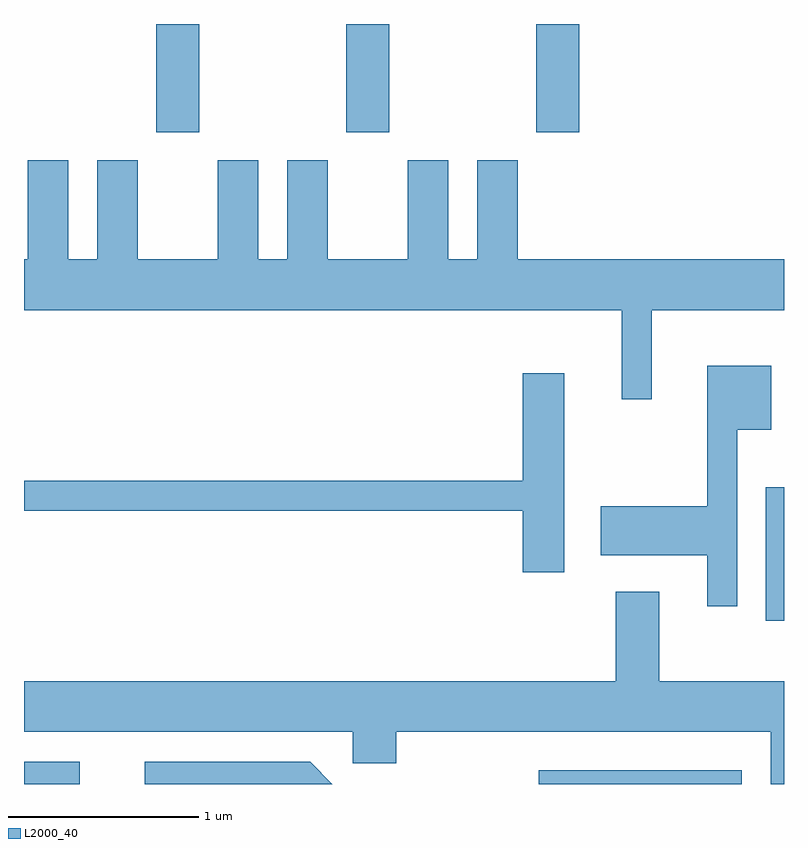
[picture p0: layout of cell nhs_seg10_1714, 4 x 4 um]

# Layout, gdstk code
import gdstk
lib = gdstk.Library(unit=1e-6, precision=1e-09)
def R(c, l, rs):  # rectangles x0, y0, x1, y1
    for r in rs: c.add(gdstk.rectangle(r[:2], r[2:], *l))
def A(c, l, x, y, w, h, nx, ny, dx, dy):  # array of equal rectangles
    R(c, l, [(x+i*dx, y+j*dy, x+i*dx+w, y+j*dy+h) for i in range(nx) for j in range(ny)])
def P(c, l, *ps):  # polygons
    for p in ps: c.add(gdstk.Polygon(p, *l))
L2000_40 = (2000, 40)

nhs_seg10_1714 = lib.new_cell('nhs_seg10_1714')
A(nhs_seg10_1714, L2000_40, 236.306, 2125.951, 0.228, 0.571, 3, 1, 1, 0)
R(nhs_seg10_1714, L2000_40, [(235.611,2122.522,235.904,2122.639), (238.321,2122.522,239.389,2122.594), (239.516,2123.381,239.611,2124.083)])
P(nhs_seg10_1714, L2000_40, [(238.914,2125.016),(239.611,2125.016),(239.611,2125.284),(238.209,2125.284),(238.209,2125.804),(237.996,2125.804),(237.996,2125.284),(237.844,2125.284),(237.844,2125.804),(237.631,2125.804),(237.631,2125.284),(237.209,2125.284),(237.209,2125.804),(236.996,2125.804),(236.996,2125.284),(236.844,2125.284),(236.844,2125.804),(236.631,2125.804),(236.631,2125.284),(236.209,2125.284),(236.209,2125.804),(235.996,2125.804),(235.996,2125.284),(235.844,2125.284),(235.844,2125.804),(235.631,2125.804),(235.631,2125.284),(235.611,2125.284),(235.611,2125.016),(238.756,2125.016),(238.756,2124.548),(238.914,2124.548)],
  [(239.364,2124.386),(239.544,2124.386),(239.544,2124.724),(239.206,2124.724),(239.206,2123.984),(238.646,2123.984),(238.646,2123.726),(239.206,2123.726),(239.206,2123.458),(239.364,2123.458)],
  [(238.454,2124.684),(238.236,2124.684),(238.236,2124.119),(235.611,2124.119),(235.611,2123.961),(238.236,2123.961),(238.236,2123.636),(238.454,2123.636)],
  [(239.611,2123.064),(238.954,2123.064),(238.954,2123.534),(238.726,2123.534),(238.726,2123.064),(235.611,2123.064),(235.611,2122.796),(237.341,2122.796),(237.341,2122.631),(237.569,2122.631),(237.569,2122.796),(239.541,2122.796),(239.541,2122.522),(239.611,2122.522)],
  [(237.117,2122.639),(236.246,2122.639),(236.246,2122.522),(237.234,2122.522)])

lib.write_gds('nhs_seg10_1714.gds')
